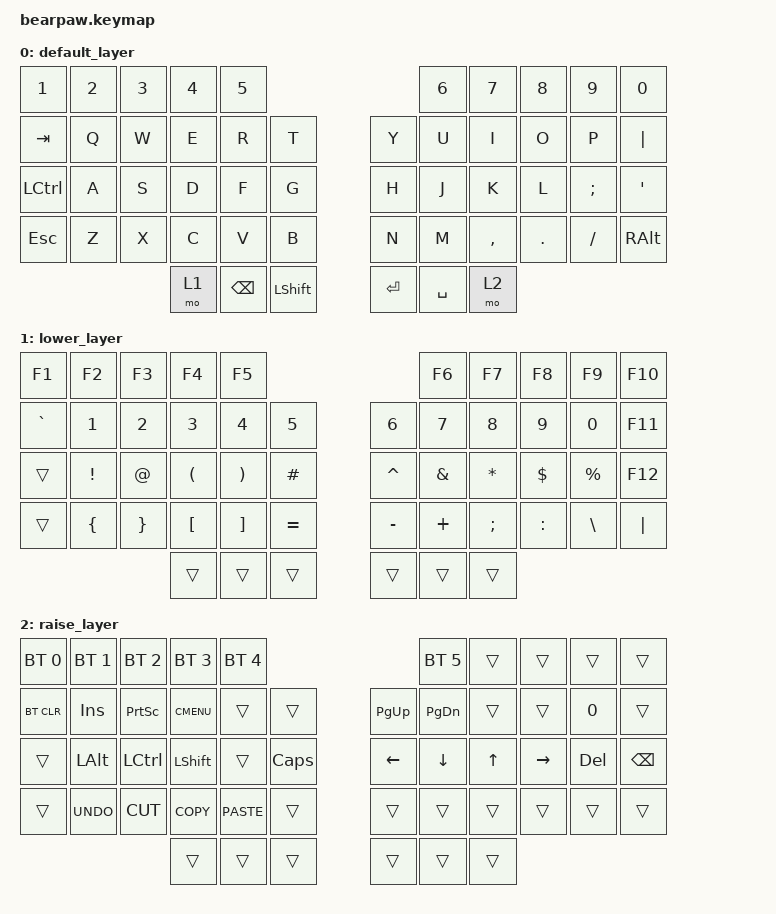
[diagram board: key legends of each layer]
#include <behaviors.dtsi>
#include <dt-bindings/zmk/bt.h>
#include <dt-bindings/zmk/keys.h>

#define BASE 0
#define LOWER 1
#define RAISE 2

/ {
    keymap {
        compatible = "zmk,keymap";

        default_layer {
            bindings = <
&kp N1            &kp N2    &kp N3     &kp N4  &kp N5              &kp N6  &kp N7  &kp N8  &kp N9     &kp N0
&kp TAB           &kp Q     &kp W      &kp E   &kp R    &kp T              &kp Y   &kp U   &kp I      &kp O    &kp P     &kp PIPE
&kp LEFT_CONTROL  &kp A     &kp S      &kp D   &kp F    &kp G              &kp H   &kp J   &kp K      &kp L    &kp SEMI  &kp SQT
&kp ESC           &kp Z     &kp X      &kp C   &kp V    &kp B              &kp N   &kp M   &kp COMMA  &kp DOT  &kp FSLH  &kp RIGHT_ALT
&mo 1             &kp BSPC  &kp LSHFT          &kp RET  &kp SPACE  &mo 2
            >;
        };

        lower_layer {
            bindings = <
&kp F1     &kp F2    &kp F3    &kp F4    &kp F5               &kp F6  &kp F7     &kp F8    &kp F9     &kp F10
&kp GRAVE  &kp N1    &kp N2    &kp N3    &kp N4    &kp N5             &kp N6     &kp N7    &kp N8     &kp N9     &kp N0     &kp F11
&trans     &kp EXCL  &kp AT    &kp LPAR  &kp RPAR  &kp HASH           &kp CARET  &kp AMPS  &kp ASTRK  &kp DLLR   &kp PRCNT  &kp F12
&trans     &kp LBRC  &kp RBRC  &kp LBKT  &kp RBKT  &kp EQUAL          &kp MINUS  &kp PLUS  &kp SEMI   &kp COLON  &kp BSLH   &kp PIPE
&trans     &trans    &trans              &trans    &trans     &trans
            >;
        };

        raise_layer {
            bindings = <
&bt BT_SEL 0  &bt BT_SEL 1  &bt BT_SEL 2  &bt BT_SEL 3  &bt BT_SEL 4            &bt BT_SEL 5  &trans     &trans     &trans  &trans
&bt BT_CLR    &kp INS       &kp PSCRN     &kp K_CMENU   &trans        &trans                  &kp PG_UP  &kp PG_DN  &trans  &trans     &kp N0   &trans
&trans        &kp LALT      &kp LCTRL     &kp LSHFT     &trans        &kp CLCK                &kp LEFT   &kp DOWN   &kp UP  &kp RIGHT  &kp DEL  &kp BSPC
&trans        &kp K_UNDO    &kp K_CUT     &kp K_COPY    &kp K_PASTE   &trans                  &trans     &trans     &trans  &trans     &trans   &trans
&trans        &trans        &trans                      &trans        &trans    &trans
            >;
        };
    };
};
